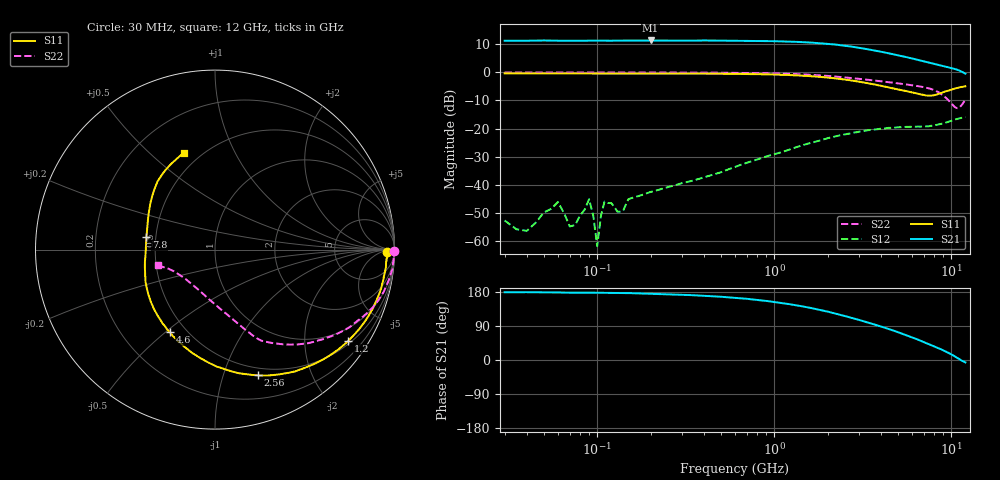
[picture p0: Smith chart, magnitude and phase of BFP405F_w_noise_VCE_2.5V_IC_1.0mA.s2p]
! Infineon Technologies  Discrete & RF Semiconductors
! BFP405F
! VCE =  2.5 V,  IC =  1.0 mA
! Common Emitter S-Parameters:  Nov 2015
# GHz  S  MA  R  50
!  f  S11  S21  S12  S22
! GHz  MAG  ANG  MAG  ANG  MAG  ANG  MAG  ANG
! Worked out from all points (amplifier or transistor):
!   239 points, 30 MHz to 12 GHz, reference 50 ohm
!   highest |S21| = 11.4 dB at 200 MHz (marker M1)
!   |S21| within 3 dB of that: start of sweep to 3.275 GHz
!   unconditionally stable (mu >= 1): 4.754 GHz to end of sweep
!   at 300 MHz: K = 0.02, MSG = 25.4 dB, |S12| = -39.5 dB
!   at 1.88 GHz: K = 0.22, MSG = 17.1 dB, |S12| = -24.0 dB
!   at 12 GHz: K = 2.00, MAG = 2.0 dB, |S12| = -15.9 dB
!   lowest NFmin = 0.95 dB at 450 MHz
!   S11 on the Smith chart (normalised r, x): 30 MHz: 42, -14; 1.2 GHz: 0.58, -3.13; 2.56 GHz: 0.42, -1.31; 4.6 GHz: 0.41, -0.52; 7.8 GHz: 0.44, +0.07; 12 GHz: 0.41, +0.65
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0.03  0.9584 -0.8  3.671 178.9  0.0023 55.1  0.9993 -0.5
0.04  0.9559 -1.1  3.671 179.0  0.0015 117.6  0.9975 -0.6
0.06  0.9578 -1.6  3.676 178.3  0.0049 104.8  0.9994 -0.7
0.07  0.9572 -2.2  3.686 177.6  0.0018 158.4  0.9992 -1.0
0.085  0.9577 -2.5  3.678 177.6  0.0036 126.8  0.9987 -1.3
0.09  0.9586 -2.6  3.689 177.7  0.0055 146.4  0.9986 -1.4
0.1  0.9598 -2.7  3.679 177.5  0.0008 55.3  0.9946 -1.8
0.105  0.9577 -2.9  3.677 177.3  0.0028 96.5  0.9963 -1.9
0.11  0.9557 -3.2  3.675 177.1  0.005 102.5  0.9981 -1.9
0.135  0.9565 -3.9  3.694 176.8  0.0033 84.7  0.9988 -2.1
0.2  0.9574 -5.8  3.714 174.6  0.0074 92.3  0.9972 -3.1
0.24  0.9562 -6.9  3.695 173.8  0.0087 91.2  0.996 -3.8
0.6  0.9434 -17.3  3.672 164.0  0.0208 83.2  0.9854 -9.4
1.2  0.9 -34.4  3.553 147.9  0.0413 73.7  0.9456 -18.4
1.64  0.8531 -46.8  3.392 136.5  0.0565 66.9  0.9037 -24.5
2.56  0.7393 -71.3  2.959 114.9  0.0798 52.8  0.8099 -36.5
3.3  0.6528 -89.0  2.619 100.2  0.092 43.7  0.7452 -43.9
4.5  0.5356 -116.1  2.166 80.7  0.1026 33.4  0.6675 -52.4
4.6  0.5241 -118.6  2.14 79.0  0.1027 32.4  0.6614 -53.1
7.8  0.3883 169.6  1.441 38.4  0.1123 25.3  0.4985 -67.7
10.6  0.5206 122.4  1.137 7.9  0.1464 23.6  0.235 -118.6
12  0.5666 107.6  0.949 -6.3  0.1604 20.1  0.3279 -164.4
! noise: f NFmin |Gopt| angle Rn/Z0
0.45  0.95  0.71  8  0.64
0.9  0.98  0.67  15  0.67
1.5  1.19  0.65  22  0.58
1.9  1.27  0.61  31  0.56
2.4  1.5  0.57  41  0.57
3  1.58  0.55  52  0.52
3.5  1.65  0.54  62  0.48
4.5  1.9  0.46  83  0.38
5.5  2.29  0.32  105  0.28
